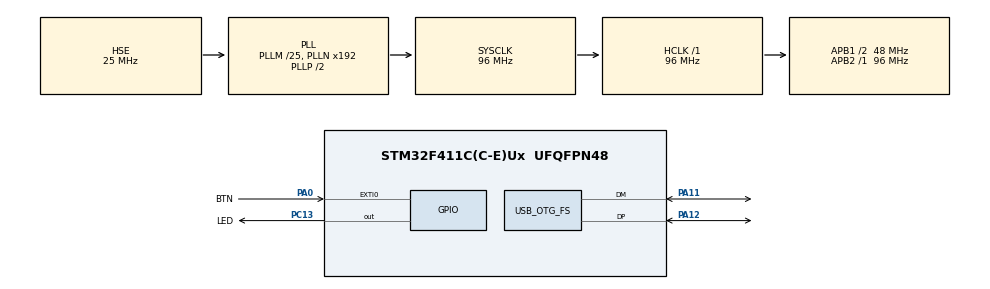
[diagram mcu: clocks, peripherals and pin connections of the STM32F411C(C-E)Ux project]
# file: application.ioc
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Mcu.Family=STM32F4
USB_DEVICE.CLASS_NAME_FS=CDC
RCC.CortexFreq_Value=96000000
USB_DEVICE.VirtualModeFS=Cdc_FS
PC13-ANTI_TAMP.GPIO_Label=LED
PH1\ -\ OSC_OUT.Mode=HSE-External-Oscillator
PA11.Mode=Device_Only
RCC.APB1CLKDivider=RCC_HCLK_DIV2
PA0-WKUP.GPIO_ModeDefaultEXTI=GPIO_MODE_IT_FALLING
PC13-ANTI_TAMP.PinState=GPIO_PIN_SET
RCC.SYSCLKSource=RCC_SYSCLKSOURCE_PLLCLK
ProjectManager.StackSize=0x400
PA0-WKUP.GPIO_Label=BTN
PA0-WKUP.Signal=GPXTI0
PA13.Signal=SYS_JTMS-SWDIO
PA12.Signal=USB_OTG_FS_DP
PH0\ -\ OSC_IN.Mode=HSE-External-Oscillator
PH0\ -\ OSC_IN.Signal=RCC_OSC_IN
ProjectManager.TargetToolchain=STM32CubeIDE
RCC.HCLKFreq_Value=96000000
VP_USB_DEVICE_VS_USB_DEVICE_CDC_FS.Mode=CDC_FS
RCC.APB2TimFreq_Value=96000000
RCC.LSE_VALUE=32768
RCC.AHBFreq_Value=96000000
RCC.HSE_VALUE=25000000
PH1\ -\ OSC_OUT.Signal=RCC_OSC_OUT
board=custom
PC13-ANTI_TAMP.Signal=GPIO_Output
RCC.VCOOutputFreq_Value=192000000
PC13-ANTI_TAMP.GPIO_ModeDefaultOutputPP=GPIO_MODE_OUTPUT_OD
RCC.APB2Freq_Value=96000000
PA14.Mode=Serial_Wire
USB_OTG_FS.Sof_enable=ENABLE
PA13.Mode=Serial_Wire
Mcu.Name=STM32F411C(C-E)Ux
RCC.48MHZClocksFreq_Value=48000000
NVIC.EXTI0_IRQn=true\:0\:0\:false\:false\:true\:true\:true
RCC.SYSCLKFreq_VALUE=96000000
Mcu.Package=UFQFPN48
PA12.Mode=Device_Only
NVIC.OTG_FS_IRQn=true\:0\:0\:false\:false\:true\:false\:true
PA11.Signal=USB_OTG_FS_DM
PA14.Signal=SYS_JTCK-SWCLK
USB_OTG_FS.VirtualMode=Device_Only
ProjectManager.HeapSize=0x200
RCC.HSI_VALUE=16000000
NVIC.PriorityGroup=NVIC_PRIORITYGROUP_4
RCC.PLLM=25
RCC.APB1TimFreq_Value=96000000
PA0-WKUP.GPIO_PuPd=GPIO_PULLUP
RCC.APB1Freq_Value=48000000
USB_DEVICE.VirtualMode=Cdc

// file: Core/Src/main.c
/* USER CODE BEGIN Header */
/**
  ******************************************************************************
  * @file           : main.c
  * @brief          : Main program body
  ******************************************************************************
  * @attention
  *
  * <h2><center>&copy; Copyright (c) 2021 STMicroelectronics.
  * All rights reserved.</center></h2>
  *
  * This software component is licensed by ST under BSD 3-Clause license,
  * the "License"; You may not use this file except in compliance with the
  * License. You may obtain a copy of the License at:
  *                        opensource.org/licenses/BSD-3-Clause
  *
  ******************************************************************************
  */
/* USER CODE END Header */
#include "main.h"
#include "usb_device.h"

/* USER CODE BEGIN PD */
#define DFU_VECTOR 0x08072000
#define DFU_TRIGGER 0xDEADBEEF
/* USER CODE END PD */

/* USER CODE BEGIN PV */
uint32_t dfu_trigger_location;
/* USER CODE END PV */

void SystemClock_Config(void);
static void MX_GPIO_Init(void);

/* USER CODE BEGIN 0 */

void check_dfu_jump() {
	if (dfu_trigger_location == DFU_TRIGGER) {
		void (*dfu_boot)(void) = (void (*)(void)) (*((uint32_t *)(DFU_VECTOR)));
		dfu_trigger_location = 0;
		                //__set_MSP(BOOTLOADER_STACK_POINTER);
		dfu_boot();
	}
}

void HAL_GPIO_EXTI_Callback(uint16_t GPIO_Pin) {
        if (GPIO_Pin == BTN_Pin) // If the button
        {
        	dfu_trigger_location = DFU_TRIGGER;
        	NVIC_SystemReset();
        }
}

/* USER CODE END 0 */

int main(void)
{

  /* MCU Configuration--------------------------------------------------------*/

  /* Reset of all peripherals, Initializes the Flash interface and the Systick. */
  HAL_Init();

  /* Configure the system clock */
  SystemClock_Config();

  /* Initialize all configured peripherals */
  MX_GPIO_Init();
  MX_USB_DEVICE_Init();

  /* Infinite loop */
  /* USER CODE BEGIN WHILE */

  uint32_t now = 0, then = 0;

  while (1)
  {

	now = HAL_GetTick();
	if (now % 500 == 0 && now != then) {
		HAL_GPIO_TogglePin(LED_GPIO_Port, LED_Pin);
		then = now;
	}
    /* USER CODE END WHILE */

  }
}

void SystemClock_Config(void)
{
  RCC_OscInitTypeDef RCC_OscInitStruct = {0};
  RCC_ClkInitTypeDef RCC_ClkInitStruct = {0};

  /** Configure the main internal regulator output voltage
  */
  __HAL_RCC_PWR_CLK_ENABLE();
  __HAL_PWR_VOLTAGESCALING_CONFIG(PWR_REGULATOR_VOLTAGE_SCALE1);
  /** Initializes the RCC Oscillators according to the specified parameters
  * in the RCC_OscInitTypeDef structure.
  */
  RCC_OscInitStruct.OscillatorType = RCC_OSCILLATORTYPE_HSE;
  RCC_OscInitStruct.HSEState = RCC_HSE_ON;
  RCC_OscInitStruct.PLL.PLLState = RCC_PLL_ON;
  RCC_OscInitStruct.PLL.PLLSource = RCC_PLLSOURCE_HSE;
  RCC_OscInitStruct.PLL.PLLM = 25;
  RCC_OscInitStruct.PLL.PLLN = 192;
  RCC_OscInitStruct.PLL.PLLP = RCC_PLLP_DIV2;
  RCC_OscInitStruct.PLL.PLLQ = 4;
  if (HAL_RCC_OscConfig(&RCC_OscInitStruct) != HAL_OK)
  {
    Error_Handler();
  }
  /** Initializes the CPU, AHB and APB buses clocks
  */
  RCC_ClkInitStruct.ClockType = RCC_CLOCKTYPE_HCLK|RCC_CLOCKTYPE_SYSCLK
                              |RCC_CLOCKTYPE_PCLK1|RCC_CLOCKTYPE_PCLK2;
  RCC_ClkInitStruct.SYSCLKSource = RCC_SYSCLKSOURCE_PLLCLK;
  RCC_ClkInitStruct.AHBCLKDivider = RCC_SYSCLK_DIV1;
  RCC_ClkInitStruct.APB1CLKDivider = RCC_HCLK_DIV2;
  RCC_ClkInitStruct.APB2CLKDivider = RCC_HCLK_DIV1;

  if (HAL_RCC_ClockConfig(&RCC_ClkInitStruct, FLASH_LATENCY_3) != HAL_OK)
  {
    Error_Handler();
  }
}

static void MX_GPIO_Init(void)
{
  GPIO_InitTypeDef GPIO_InitStruct = {0};

  /* GPIO Ports Clock Enable */
  __HAL_RCC_GPIOC_CLK_ENABLE();
  __HAL_RCC_GPIOH_CLK_ENABLE();
  __HAL_RCC_GPIOA_CLK_ENABLE();

  /*Configure GPIO pin Output Level */
  HAL_GPIO_WritePin(LED_GPIO_Port, LED_Pin, GPIO_PIN_SET);

  /*Configure GPIO pin : LED_Pin */
  GPIO_InitStruct.Pin = LED_Pin;
  GPIO_InitStruct.Mode = GPIO_MODE_OUTPUT_OD;
  GPIO_InitStruct.Pull = GPIO_NOPULL;
  GPIO_InitStruct.Speed = GPIO_SPEED_FREQ_LOW;
  HAL_GPIO_Init(LED_GPIO_Port, &GPIO_InitStruct);

  /*Configure GPIO pin : BTN_Pin */
  GPIO_InitStruct.Pin = BTN_Pin;
  GPIO_InitStruct.Mode = GPIO_MODE_IT_FALLING;
  GPIO_InitStruct.Pull = GPIO_PULLUP;
  HAL_GPIO_Init(BTN_GPIO_Port, &GPIO_InitStruct);

  /* EXTI interrupt init*/
  HAL_NVIC_SetPriority(EXTI0_IRQn, 0, 0);
  HAL_NVIC_EnableIRQ(EXTI0_IRQn);

}

void Error_Handler(void)
{
  __disable_irq();
  while (1)
  {
  }
}

/************************ (C) COPYRIGHT STMicroelectronics *****END OF FILE****/
